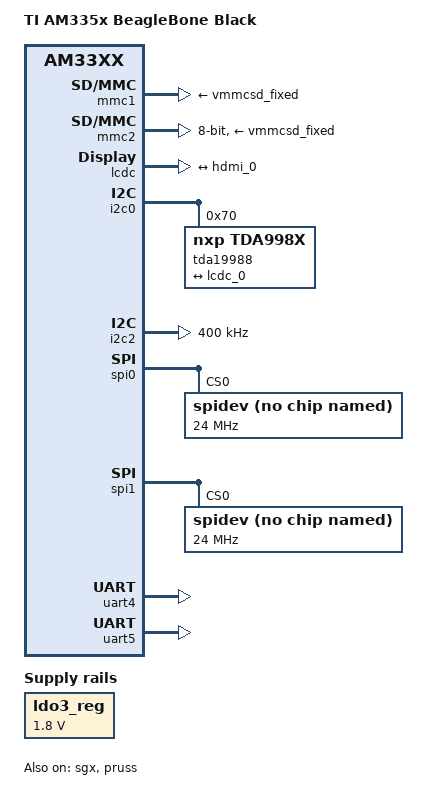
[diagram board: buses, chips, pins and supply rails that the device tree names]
/*
 * Copyright (C) 2012 Texas Instruments Incorporated - http://www.ti.com/
 *
 * This program is free software; you can redistribute it and/or modify
 * it under the terms of the GNU General Public License version 2 as
 * published by the Free Software Foundation.
 */
/dts-v1/;

#include "am33xx.dtsi"
#include "am335x-bone-common.dtsi"

/ {
	model = "TI AM335x BeagleBone Black";
	compatible = "ti,am335x-bone-black", "ti,am335x-bone", "ti,am33xx";
};

&ldo3_reg {
	regulator-min-microvolt = <1800000>;
	regulator-max-microvolt = <1800000>;
	regulator-always-on;
};

&mmc1 {
	vmmc-supply = <&vmmcsd_fixed>;
};

&mmc2 {
	vmmc-supply = <&vmmcsd_fixed>;
	pinctrl-names = "default";
	pinctrl-0 = <&emmc_pins>;
	bus-width = <8>;
	status = "okay";
};

&sgx {
	status = "okay";
};

&am33xx_pinmux {
	nxp_hdmi_bonelt_pins: nxp_hdmi_bonelt_pins {
		pinctrl-single,pins = <
			0x1b0 0x03      /* xdma_event_intr0, OMAP_MUX_MODE3 | AM33XX_PIN_OUTPUT */
			0xa0 0x08       /* lcd_data0.lcd_data0, OMAP_MUX_MODE0 | AM33XX_PIN_OUTPUT | AM33XX_PULL_DISA */
			0xa4 0x08       /* lcd_data1.lcd_data1, OMAP_MUX_MODE0 | AM33XX_PIN_OUTPUT | AM33XX_PULL_DISA */
			0xa8 0x08       /* lcd_data2.lcd_data2, OMAP_MUX_MODE0 | AM33XX_PIN_OUTPUT | AM33XX_PULL_DISA */
			0xac 0x08       /* lcd_data3.lcd_data3, OMAP_MUX_MODE0 | AM33XX_PIN_OUTPUT | AM33XX_PULL_DISA */
			0xb0 0x08       /* lcd_data4.lcd_data4, OMAP_MUX_MODE0 | AM33XX_PIN_OUTPUT | AM33XX_PULL_DISA */
			0xb4 0x08       /* lcd_data5.lcd_data5, OMAP_MUX_MODE0 | AM33XX_PIN_OUTPUT | AM33XX_PULL_DISA */
			0xb8 0x08       /* lcd_data6.lcd_data6, OMAP_MUX_MODE0 | AM33XX_PIN_OUTPUT | AM33XX_PULL_DISA */
			0xbc 0x08       /* lcd_data7.lcd_data7, OMAP_MUX_MODE0 | AM33XX_PIN_OUTPUT | AM33XX_PULL_DISA */
			0xc0 0x08       /* lcd_data8.lcd_data8, OMAP_MUX_MODE0 | AM33XX_PIN_OUTPUT | AM33XX_PULL_DISA */
			0xc4 0x08       /* lcd_data9.lcd_data9, OMAP_MUX_MODE0 | AM33XX_PIN_OUTPUT | AM33XX_PULL_DISA */
			0xc8 0x08       /* lcd_data10.lcd_data10, OMAP_MUX_MODE0 | AM33XX_PIN_OUTPUT | AM33XX_PULL_DISA */
			0xcc 0x08       /* lcd_data11.lcd_data11, OMAP_MUX_MODE0 | AM33XX_PIN_OUTPUT | AM33XX_PULL_DISA */
			0xd0 0x08       /* lcd_data12.lcd_data12, OMAP_MUX_MODE0 | AM33XX_PIN_OUTPUT | AM33XX_PULL_DISA */
			0xd4 0x08       /* lcd_data13.lcd_data13, OMAP_MUX_MODE0 | AM33XX_PIN_OUTPUT | AM33XX_PULL_DISA */
			0xd8 0x08       /* lcd_data14.lcd_data14, OMAP_MUX_MODE0 | AM33XX_PIN_OUTPUT | AM33XX_PULL_DISA */
			0xdc 0x08       /* lcd_data15.lcd_data15, OMAP_MUX_MODE0 | AM33XX_PIN_OUTPUT | AM33XX_PULL_DISA */
			0xe0 0x00       /* lcd_vsync.lcd_vsync, OMAP_MUX_MODE0 | AM33XX_PIN_OUTPUT */
			0xe4 0x00       /* lcd_hsync.lcd_hsync, OMAP_MUX_MODE0 | AM33XX_PIN_OUTPUT */
			0xe8 0x00       /* lcd_pclk.lcd_pclk, OMAP_MUX_MODE0 | AM33XX_PIN_OUTPUT */
			0xec 0x00       /* lcd_ac_bias_en.lcd_ac_bias_en, OMAP_MUX_MODE0 | AM33XX_PIN_OUTPUT */
		>;
	};
	nxp_hdmi_bonelt_off_pins: nxp_hdmi_bonelt_off_pins {
		pinctrl-single,pins = <
			0x1b0 0x03      /* xdma_event_intr0, OMAP_MUX_MODE3 | AM33XX_PIN_OUTPUT */
		>;
	};

	pru_pins: pinmux_pru_pins {
		pinctrl-single,pins = <
			0x03c 0x35	/* ecap0_in_pwm0_out.pr1_ecap0_ecap_capin, MODE5 | INPUT_PULLUP | PRU, PPM-sum, SBUS, DSM  */

			0x0e8 0x25	/* lcd_pclk.pr1_pru1_pru_r30_10, MODE5 | OUTPUT | PRU, CH_1 */
			0x0e0 0x25	/* lcd_vsync.pr1_pru1_pru_r30_8, MODE5 | OUTPUT | PRU, CH_2 */
			0x0ec 0x25	/* lcd_ac_bias_en.pr1_pru1_pru_r30_11, MODE5 | OUTPUT | PRU, CH_3 */
			0x0e4 0x25	/* lcd_hsync.pr1_pru1_pru_r30_9, MODE5 | OUTPUT | PRU, CH_4 */
			0x0bc 0x25	/* lcd_data7.pr1_pru1_pru_r30_7, MODE5 | OUTPUT | PRU, CH_5 */
			0x0b8 0x25	/* lcd_data6.pr1_pru1_pru_r30_6, MODE5 | OUTPUT | PRU, CH_6 */
			0x0b4 0x25	/* lcd_data5.pr1_pru1_pru_r30_5, MODE5 | OUTPUT | PRU, CH_7 */
			0x0b0 0x25	/* lcd_data4.pr1_pru1_pru_r30_4, MODE5 | OUTPUT | PRU, CH_8 */
			0x0ac 0x25	/* lcd_data3.pr1_pru1_pru_r30_3, MODE5 | OUTPUT | PRU, CH_9 */
			0x0a8 0x25	/* lcd_data2.pr1_pru1_pru_r30_2, MODE5 | OUTPUT | PRU, CH_10 */
			0x0a4 0x25	/* lcd_data1.pr1_pru1_pru_r30_1, MODE5 | OUTPUT | PRU, CH_11 */
			0x0a0 0x25	/* lcd_data0.pr1_pru1_pru_r30_0, MODE5 | OUTPUT | PRU, CH_12 */

			/*BONE_P8_12 (PIN_OUTPUT_PULLDOWN | MUX_MODE6)*/ /* HC-SR04 TRIG */
			/*BONE_P8_16 (PIN_INPUT_PULLDOWN | MUX_MODE6)*/ /* HC-SR04 ECHO */

			/*BONE_P9_25 (PIN_INPUT_PULLDOWN | MUX_MODE6)*/ /* MPU9250 INT */
		>;
	};

	spi0_pins: pinmux_spi0_pins {
		pinctrl-single,pins = <
                  0x150 0x30  /* spi0_sclk, SPI0_SCLK P9_22 */
                  0x154 0x10  /* spi0_d0, SPI0_MOSI  P9_21 */
                  0x158 0x30  /* spi0_d1, SPI0_MISO P9_18 */
                  /* setup a dummy CS for the SPI driver to use, then
                     setup pin modes for the two real CS lines to
                     set them pull-up */
                  0x054 0x07  /* led pin, dummy CS */
                  0x15C 0x37  /* LSM9DSO_AM CS P9_17 */
                  0x09C 0x37  /* LSM9DSO_G CS P8_9 */	
		>;
	};

	spi1_pins: pinmux_spi1_pins {
		pinctrl-single,pins = <
                0x190 0x33      /* mcasp0_aclkx.spi1_sclk, SPI1_SCLK P9_31 */
                0x194 0x13      /* mcasp0_fsx.spi1_d0, SPI1_MOSI P9_29 */
                0x198 0x33      /* mcasp0_axr0.spi1_d1, SPI1_MISO P9_30 */
                /* setup a dummy CS for the SPI driver to use, then
                   setup pin modes for the four real CS lines to
                   set them pull-up */
                0x058 0x07      /* dummy CS */
				0x164 0x37      /* P9_42 MS5611 CS */
				0x19C 0x37      /* P9_28 MPU6000 CS */
				0x044 0x37      /* P9_23 MPU9250 CS */
				0x030 0x37      /* P8_12 FRAM CS */
		>;
	};

	uart4_pins: pinmux_uart4_pins {
		pinctrl-single,pins = <
			/* P9_11: gpmc_wait0.uart4_rxd_mux2 */
			0x070 (PIN_INPUT_PULLUP | MUX_MODE6)
			/* P9_13: gpmc_wpn.uart4_txd_mux2  */
			0x074 (PIN_OUTPUT_PULLDOWN | MUX_MODE6)
		>;
	};

	uart5_pins: pinmux_uart5_pins {
		pinctrl-single,pins = <
			/* P8_38: lcd_data9.uart5_rxd */
			0x0c4 (PIN_INPUT_PULLUP | MUX_MODE4)
			/* P8_37: lcd_data8.uart5_txd */
			0x0c0 (PIN_OUTPUT_PULLDOWN | MUX_MODE4)
		>;
	};
};

&lcdc {
	status = "okay";
	port {
		lcdc_0: endpoint@0 {
			remote-endpoint = <&hdmi_0>;
		};
	};
};

&i2c0 {
	tda19988 {
		compatible = "nxp,tda998x";
		reg = <0x70>;
		pinctrl-names = "default", "off";
		pinctrl-0 = <&nxp_hdmi_bonelt_pins>;
		pinctrl-1 = <&nxp_hdmi_bonelt_off_pins>;
		port {
			hdmi_0: endpoint@0 {
				remote-endpoint = <&lcdc_0>;
			};
		};
	};
};


&i2c2 {
	clock-frequency = <400000>;
};

&spi0 {
        pinctrl-names = "default";
	pinctrl-0 = <&spi0_pins>;
        ti,pindir-d0-out-d1-in = <1>;
        status = "okay";
        spidev@0 {
                 spi-max-frequency = <24000000>;
                 reg = <0>;
                 compatible = "linux,spidev";
            };
};

&spi1 {
	pinctrl-names = "default";
	pinctrl-0 = <&spi1_pins>;
	status = "okay";
        ti,pindir-d0-out-d1-in = <1>;
        spidev@1 {
                 spi-max-frequency = <24000000>;
                 reg = <0>;
                 compatible = "linux,spidev";
            };
};

&pruss {
	pinctrl-names = "default";
	pinctrl-0 = <&pru_pins>;
	status = "okay";
};

&uart4 {
	pinctrl-names = "default";
	pinctrl-0 = <&uart4_pins>;
	status = "okay";
};

&uart5 {
	pinctrl-names = "default";
	pinctrl-0 = <&uart5_pins>;
	status = "okay";
};

/ {

	hdmi_audio: hdmi_audio@0 {
	       compatible = "linux,hdmi-audio";
	       status = "okay";
	};	
};
